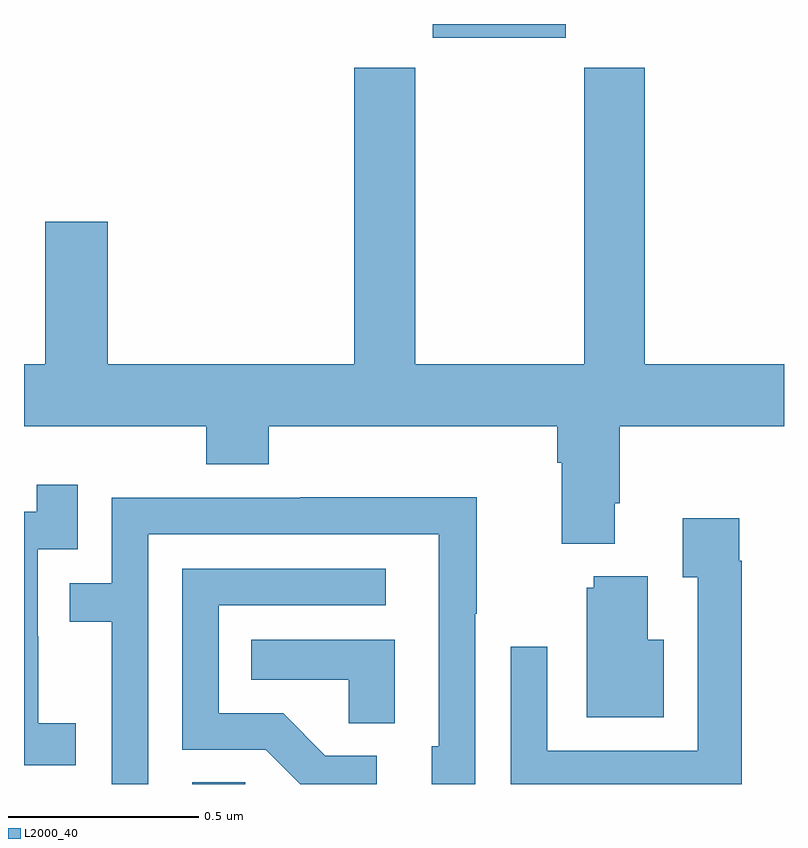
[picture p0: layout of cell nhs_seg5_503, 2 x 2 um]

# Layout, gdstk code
import gdstk
lib = gdstk.Library(unit=1e-6, precision=1e-09)
def R(c, l, rs):  # rectangles x0, y0, x1, y1
    for r in rs: c.add(gdstk.rectangle(r[:2], r[2:], *l))
def P(c, l, *ps):  # polygons
    for p in ps: c.add(gdstk.Polygon(p, *l))
L2000_40 = (2000, 40)

nhs_seg5_503 = lib.new_cell('nhs_seg5_503')
R(nhs_seg5_503, L2000_40, [(117.443,875.799,117.582,875.804), (118.076,877.763,118.426,877.799)])
P(nhs_seg5_503, L2000_40, [(118.555,876.538),(118.568,876.538),(118.568,876.74),(119,876.74),(119,876.904),(118.634,876.904),(118.634,877.684),(118.474,877.684),(118.474,876.904),(118.029,876.904),(118.029,877.684),(117.869,877.684),(117.869,876.904),(117.22,876.904),(117.22,877.279),(117.056,877.279),(117.056,876.904),(117,876.904),(117,876.74),(117.479,876.74),(117.479,876.641),(117.644,876.641),(117.644,876.74),(118.403,876.74),(118.403,876.644),(118.415,876.644),(118.415,876.431),(118.555,876.431)],
  [(117.136,875.959),(117.038,875.959),(117.038,876.188),(117.036,876.188),(117.036,876.417),(117.141,876.417),(117.141,876.586),(117.033,876.586),(117.033,876.516),(117,876.516),(117,875.849),(117.136,875.849)],
  [(117.327,876.456),(118.092,876.456),(118.092,875.898),(118.073,875.898),(118.073,875.799),(118.188,875.799),(118.188,876.247),(118.191,876.247),(118.191,876.554),(117.727,876.554),(117.727,876.552),(117.231,876.552),(117.231,876.327),(117.121,876.327),(117.121,876.226),(117.231,876.226),(117.231,875.799),(117.327,875.799)],
  [(118.889,876.386),(118.882,876.386),(118.882,876.499),(118.733,876.499),(118.733,876.343),(118.773,876.343),(118.773,875.886),(118.377,875.886),(118.377,876.16),(118.281,876.16),(118.281,875.799),(118.889,875.799)],
  [(117.928,875.874),(117.793,875.874),(117.682,875.985),(117.513,875.985),(117.513,876.27),(117.952,876.27),(117.952,876.366),(117.417,876.366),(117.417,875.889),(117.636,875.889),(117.727,875.799),(117.928,875.799)],
  [(118.684,876.178),(118.642,876.178),(118.642,876.346),(118.499,876.346),(118.499,876.315),(118.481,876.315),(118.481,875.975),(118.684,875.975)],
  [(117.976,876.178),(117.598,876.178),(117.598,876.074),(117.855,876.074),(117.855,875.959),(117.976,875.959)])

lib.write_gds('nhs_seg5_503.gds')
